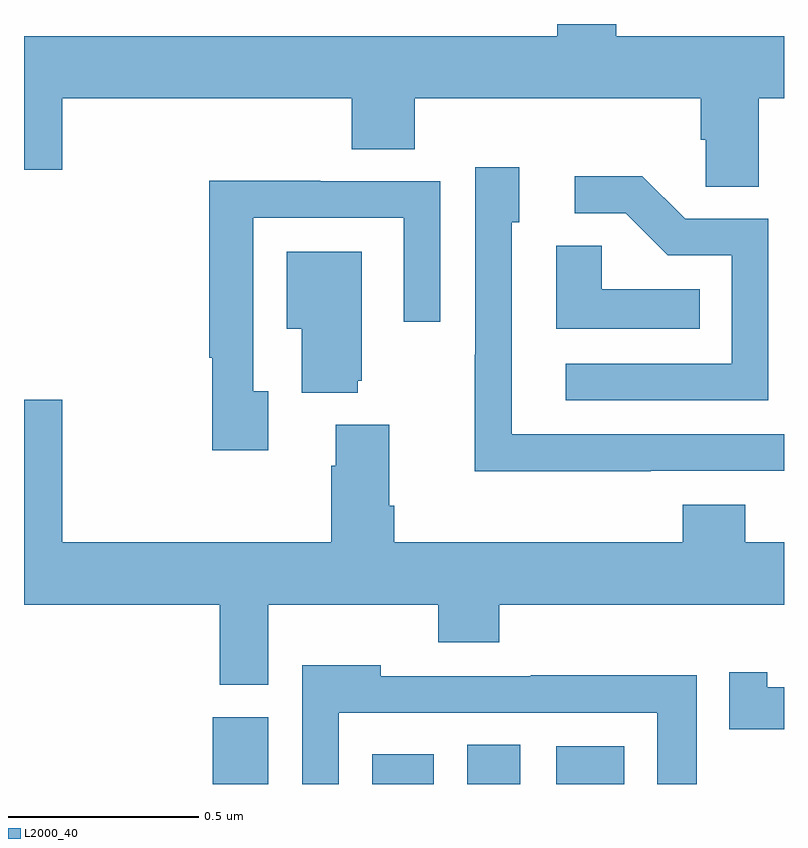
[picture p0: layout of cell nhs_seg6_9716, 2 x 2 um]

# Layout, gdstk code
import gdstk
lib = gdstk.Library(unit=1e-6, precision=1e-09)
def R(c, l, rs):  # rectangles x0, y0, x1, y1
    for r in rs: c.add(gdstk.rectangle(r[:2], r[2:], *l))
def P(c, l, *ps):  # polygons
    for p in ps: c.add(gdstk.Polygon(p, *l))
L2000_40 = (2000, 40)

nhs_seg6_9716 = lib.new_cell('nhs_seg6_9716')
R(nhs_seg6_9716, L2000_40, [(237.497,977.5,237.643,977.676), (237.917,977.5,238.078,977.578), (238.166,977.5,238.306,977.603), (238.4,977.5,238.579,977.599)])
P(nhs_seg6_9716, L2000_40, [(238.933,979.304),(239,979.304),(239,979.468),(238.559,979.468),(238.559,979.5),(238.403,979.5),(238.403,979.468),(237,979.468),(237,979.116),(237.1,979.116),(237.1,979.304),(237.863,979.304),(237.863,979.171),(238.028,979.171),(238.028,979.304),(238.781,979.304),(238.781,979.195),(238.794,979.195),(238.794,979.072),(238.933,979.072)],
  [(238.649,978.324),(239,978.324),(239,978.42),(238.284,978.42),(238.284,978.978),(238.303,978.978),(238.303,979.123),(238.188,979.123),(238.188,978.629),(238.186,978.629),(238.186,978.323),(238.649,978.323)],
  [(238.959,978.987),(238.74,978.987),(238.627,979.1),(238.449,979.1),(238.449,979.002),(238.583,979.002),(238.694,978.891),(238.863,978.891),(238.863,978.606),(238.425,978.606),(238.425,978.51),(238.959,978.51)],
  [(237.643,978.534),(237.603,978.534),(237.603,978.99),(237.999,978.99),(237.999,978.717),(238.095,978.717),(238.095,979.086),(237.779,979.086),(237.779,979.088),(237.487,979.088),(237.487,978.622),(237.495,978.622),(237.495,978.378),(237.643,978.378)],
  [(238.778,978.802),(238.521,978.802),(238.521,978.917),(238.4,978.917),(238.4,978.698),(238.778,978.698)],
  [(237.878,978.561),(237.889,978.561),(237.889,978.901),(237.692,978.901),(237.692,978.698),(237.731,978.698),(237.731,978.53),(237.878,978.53)],
  [(237.643,977.972),(238.09,977.972),(238.09,977.873),(238.25,977.873),(238.25,977.972),(239,977.972),(239,978.136),(238.898,978.136),(238.898,978.235),(238.733,978.235),(238.733,978.136),(237.974,978.136),(237.974,978.232),(237.961,978.232),(237.961,978.445),(237.821,978.445),(237.821,978.338),(237.809,978.338),(237.809,978.136),(237.1,978.136),(237.1,978.511),(237,978.511),(237,977.972),(237.515,977.972),(237.515,977.761),(237.643,977.761)],
  [(237.828,977.688),(238.667,977.688),(238.667,977.5),(238.771,977.5),(238.771,977.786),(238.333,977.786),(238.333,977.784),(237.939,977.784),(237.939,977.812),(237.732,977.812),(237.732,977.5),(237.828,977.5)],
  [(239,977.755),(238.956,977.755),(238.956,977.794),(238.856,977.794),(238.856,977.644),(239,977.644)])

lib.write_gds('nhs_seg6_9716.gds')
